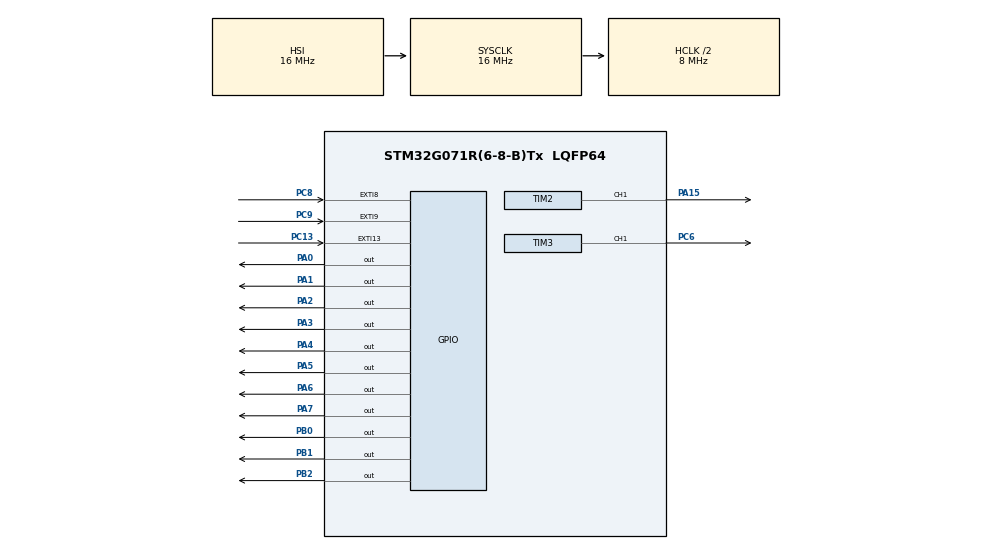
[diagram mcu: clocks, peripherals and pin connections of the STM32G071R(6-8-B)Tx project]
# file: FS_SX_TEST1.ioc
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Mcu.Family=STM32G0
Mcu.Name=STM32G071R(6-8-B)Tx
Mcu.Package=LQFP64
NVIC.EXTI4_15_IRQn=true\:0\:0\:false\:false\:true\:true\:true
PA0.Signal=GPIO_Output
PA1.Signal=GPIO_Output
PA15.Signal=S_TIM2_CH1
PA2.Signal=GPIO_Output
PA3.Signal=GPIO_Output
PA4.Signal=GPIO_Output
PA5.Signal=GPIO_Output
PA6.Signal=GPIO_Output
PA7.Signal=GPIO_Output
PB0.Signal=GPIO_Output
PB1.Signal=GPIO_Output
PB2.Signal=GPIO_Output
PC13.GPIO_ModeDefaultEXTI=GPIO_MODE_IT_FALLING
PC13.Signal=GPXTI13
PC6.Signal=S_TIM3_CH1
PC8.GPIO_ModeDefaultEXTI=GPIO_MODE_IT_FALLING
PC8.Signal=GPXTI8
PC9.GPIO_ModeDefaultEXTI=GPIO_MODE_IT_FALLING
PC9.Signal=GPXTI9
ProjectManager.HeapSize=0x200
ProjectManager.StackSize=0x400
ProjectManager.TargetToolchain=MDK-ARM V5.27
RCC.AHBCLKDivider=RCC_SYSCLK_DIV2
RCC.AHBFreq_Value=8000000
RCC.CortexFreq_Value=8000000
RCC.EXTERNAL_CLOCK_VALUE=48000
RCC.HCLKFreq_Value=8000000
RCC.HSE_VALUE=8000000
RCC.HSI_VALUE=16000000
RCC.LSE_VALUE=32768
RCC.SYSCLKFreq_VALUE=16000000
RCC.VCOOutputFreq_Value=128000000
SH.S_TIM2_CH1.0=TIM2_CH1,PWM Generation1 CH1
SH.S_TIM3_CH1.0=TIM3_CH1,PWM Generation1 CH1
TIM2.Channel-PWM\ Generation1\ CH1=TIM_CHANNEL_1
TIM2.Period=1000
TIM2.Prescaler=7
TIM2.Pulse-PWM\ Generation1\ CH1=500
TIM3.Channel-PWM\ Generation1\ CH1=TIM_CHANNEL_1
TIM3.Period=62500
TIM3.Prescaler=127
TIM3.Pulse-PWM\ Generation1\ CH1=31250
VP_SYS_VS_DBSignals.Mode=DisableDeadBatterySignals
board=custom

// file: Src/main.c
#include "main.h"
#define u8  unsigned char
#define u16 unsigned int

int mode=1; //调速模式
int number=0; //每秒转速
int number_f=0; //每分钟转速
int number_old=0;
unsigned char tstr[5];

void delay(void);
void lcdwritecmd(unsigned char cmd);
void lcdwritedata(unsigned char dat);
void lcdinit(void);
void lcdsetcursor(unsigned char x, unsigned char y);
void lcdshowstr(unsigned char x, unsigned char y, unsigned char *str);

void MX_TIM2_Init_NEW(int i); //自定义新的定时器初始化函数

TIM_HandleTypeDef htim2;
TIM_HandleTypeDef htim3;

void SystemClock_Config(void);
static void MX_GPIO_Init(void);
static void MX_TIM2_Init(void);
static void MX_TIM3_Init(void);

int main(void)
{
  HAL_Init();
  SystemClock_Config();
  MX_GPIO_Init();
  MX_TIM2_Init();
  MX_TIM3_Init();
	HAL_TIM_PWM_Start(&htim2,TIM_CHANNEL_1); //打开定时器2通道1
	HAL_TIM_PWM_Start(&htim3,TIM_CHANNEL_1); //打开定时器3通道1

	lcdinit();
	delay();
	lcdshowstr(0,0,"Speed");
	lcdshowstr(6,0,"0      ");

  while (1)
  {
		HAL_Delay(100);
  }
}

void SystemClock_Config(void)
{
  RCC_OscInitTypeDef RCC_OscInitStruct = {0};
  RCC_ClkInitTypeDef RCC_ClkInitStruct = {0};

  /** Configure the main internal regulator output voltage
  */
  HAL_PWREx_ControlVoltageScaling(PWR_REGULATOR_VOLTAGE_SCALE1);
  /** Initializes the RCC Oscillators according to the specified parameters
  * in the RCC_OscInitTypeDef structure.
  */
  RCC_OscInitStruct.OscillatorType = RCC_OSCILLATORTYPE_HSI;
  RCC_OscInitStruct.HSIState = RCC_HSI_ON;
  RCC_OscInitStruct.HSIDiv = RCC_HSI_DIV1;
  RCC_OscInitStruct.HSICalibrationValue = RCC_HSICALIBRATION_DEFAULT;
  RCC_OscInitStruct.PLL.PLLState = RCC_PLL_NONE;
  if (HAL_RCC_OscConfig(&RCC_OscInitStruct) != HAL_OK)
  {
    Error_Handler();
  }
  /** Initializes the CPU, AHB and APB buses clocks
  */
  RCC_ClkInitStruct.ClockType = RCC_CLOCKTYPE_HCLK|RCC_CLOCKTYPE_SYSCLK
                              |RCC_CLOCKTYPE_PCLK1;
  RCC_ClkInitStruct.SYSCLKSource = RCC_SYSCLKSOURCE_HSI;
  RCC_ClkInitStruct.AHBCLKDivider = RCC_SYSCLK_DIV2;
  RCC_ClkInitStruct.APB1CLKDivider = RCC_HCLK_DIV1;

  if (HAL_RCC_ClockConfig(&RCC_ClkInitStruct, FLASH_LATENCY_0) != HAL_OK)
  {
    Error_Handler();
  }
}

static void MX_TIM2_Init(void)
{

  TIM_MasterConfigTypeDef sMasterConfig = {0};
  TIM_OC_InitTypeDef sConfigOC = {0};

  htim2.Instance = TIM2;
  htim2.Init.Prescaler = 7;
  htim2.Init.CounterMode = TIM_COUNTERMODE_UP;
  htim2.Init.Period = 1000;
  htim2.Init.ClockDivision = TIM_CLOCKDIVISION_DIV1;
  htim2.Init.AutoReloadPreload = TIM_AUTORELOAD_PRELOAD_DISABLE;
  if (HAL_TIM_PWM_Init(&htim2) != HAL_OK)
  {
    Error_Handler();
  }
  sMasterConfig.MasterOutputTrigger = TIM_TRGO_RESET;
  sMasterConfig.MasterSlaveMode = TIM_MASTERSLAVEMODE_DISABLE;
  if (HAL_TIMEx_MasterConfigSynchronization(&htim2, &sMasterConfig) != HAL_OK)
  {
    Error_Handler();
  }
  sConfigOC.OCMode = TIM_OCMODE_PWM1;
  sConfigOC.Pulse = 500;
  sConfigOC.OCPolarity = TIM_OCPOLARITY_HIGH;
  sConfigOC.OCFastMode = TIM_OCFAST_DISABLE;
  if (HAL_TIM_PWM_ConfigChannel(&htim2, &sConfigOC, TIM_CHANNEL_1) != HAL_OK)
  {
    Error_Handler();
  }
  HAL_TIM_MspPostInit(&htim2);
}

static void MX_TIM3_Init(void)
{

  TIM_MasterConfigTypeDef sMasterConfig = {0};
  TIM_OC_InitTypeDef sConfigOC = {0};

  htim3.Instance = TIM3;
  htim3.Init.Prescaler = 127;
  htim3.Init.CounterMode = TIM_COUNTERMODE_UP;
  htim3.Init.Period = 62500;
  htim3.Init.ClockDivision = TIM_CLOCKDIVISION_DIV1;
  htim3.Init.AutoReloadPreload = TIM_AUTORELOAD_PRELOAD_DISABLE;
  if (HAL_TIM_PWM_Init(&htim3) != HAL_OK)
  {
    Error_Handler();
  }
  sMasterConfig.MasterOutputTrigger = TIM_TRGO_RESET;
  sMasterConfig.MasterSlaveMode = TIM_MASTERSLAVEMODE_DISABLE;
  if (HAL_TIMEx_MasterConfigSynchronization(&htim3, &sMasterConfig) != HAL_OK)
  {
    Error_Handler();
  }
  sConfigOC.OCMode = TIM_OCMODE_PWM1;
  sConfigOC.Pulse = 31250;
  sConfigOC.OCPolarity = TIM_OCPOLARITY_HIGH;
  sConfigOC.OCFastMode = TIM_OCFAST_DISABLE;
  if (HAL_TIM_PWM_ConfigChannel(&htim3, &sConfigOC, TIM_CHANNEL_1) != HAL_OK)
  {
    Error_Handler();
  }
  HAL_TIM_MspPostInit(&htim3);

}

static void MX_GPIO_Init(void)
{
  GPIO_InitTypeDef GPIO_InitStruct = {0};

  /* GPIO Ports Clock Enable */
  __HAL_RCC_GPIOC_CLK_ENABLE();
  __HAL_RCC_GPIOA_CLK_ENABLE();
  __HAL_RCC_GPIOB_CLK_ENABLE();

  /*Configure GPIO pin Output Level */
  HAL_GPIO_WritePin(GPIOA, GPIO_PIN_0|GPIO_PIN_1|GPIO_PIN_2|GPIO_PIN_3
                          |GPIO_PIN_4|GPIO_PIN_5|GPIO_PIN_6|GPIO_PIN_7, GPIO_PIN_RESET);

  /*Configure GPIO pin Output Level */
  HAL_GPIO_WritePin(GPIOB, GPIO_PIN_0|GPIO_PIN_1|GPIO_PIN_2, GPIO_PIN_RESET);

  /*Configure GPIO pins : PC13 PC8 PC9 */
  GPIO_InitStruct.Pin = GPIO_PIN_13|GPIO_PIN_8|GPIO_PIN_9;
  GPIO_InitStruct.Mode = GPIO_MODE_IT_FALLING;
  GPIO_InitStruct.Pull = GPIO_NOPULL;
  HAL_GPIO_Init(GPIOC, &GPIO_InitStruct);

  /*Configure GPIO pins : PA0 PA1 PA2 PA3
                           PA4 PA5 PA6 PA7 */
  GPIO_InitStruct.Pin = GPIO_PIN_0|GPIO_PIN_1|GPIO_PIN_2|GPIO_PIN_3
                          |GPIO_PIN_4|GPIO_PIN_5|GPIO_PIN_6|GPIO_PIN_7;
  GPIO_InitStruct.Mode = GPIO_MODE_OUTPUT_PP;
  GPIO_InitStruct.Pull = GPIO_NOPULL;
  GPIO_InitStruct.Speed = GPIO_SPEED_FREQ_LOW;
  HAL_GPIO_Init(GPIOA, &GPIO_InitStruct);

  /*Configure GPIO pins : PB0 PB1 PB2 */
  GPIO_InitStruct.Pin = GPIO_PIN_0|GPIO_PIN_1|GPIO_PIN_2;
  GPIO_InitStruct.Mode = GPIO_MODE_OUTPUT_PP;
  GPIO_InitStruct.Pull = GPIO_NOPULL;
  GPIO_InitStruct.Speed = GPIO_SPEED_FREQ_LOW;
  HAL_GPIO_Init(GPIOB, &GPIO_InitStruct);

  /* EXTI interrupt init*/
  HAL_NVIC_SetPriority(EXTI4_15_IRQn, 0, 0);
  HAL_NVIC_EnableIRQ(EXTI4_15_IRQn);

}

/* USER CODE BEGIN 4 */

void delay ()
{
	for(int i=0;i<99;i++)
	  for(int j=0;j<99;j++)
	 {}
}

void lcdwritecmd(unsigned char cmd)
{
	// lcdwait();
	delay();
	GPIOB->ODR=0x00;  //E=0\RW=0\RS=0
	GPIOA->ODR=cmd;
	GPIOB->ODR=0x04;	//E=1\RW=0\RS=0
	delay();
	GPIOB->ODR=0x00;	//E=0\RW=0\RS=0
}

void lcdwritedata(unsigned char dat)
{
  //	lcdwait();
  delay();
	GPIOB->ODR=0x01;	//E=0\RW=0\RS=1
  GPIOA->ODR=dat;
	GPIOB->ODR=0x05;	//E=1\RW=0\RS=1
	delay();
	GPIOB->ODR=0x01;	//E=0\RW=0\RS=1
}

void lcdinit()
{
	lcdwritecmd(0x38);
	lcdwritecmd(0x0c);
	lcdwritecmd(0x06);
	lcdwritecmd(0x01);
}

void lcdsetcursor(unsigned char x, unsigned char y)
{
	unsigned char address;
	if(y==0)
		address=0x00+x;
	else
		address=0x40+x;
	lcdwritecmd(address|0x80);
}

void lcdshowstr(unsigned char x, unsigned char y, unsigned char *str)
{
	lcdsetcursor(x,y);
	while((*str)!='\0')
	{
		 lcdwritedata(*str);
  		str++;
	}
}

//*******************************************************************************

void HAL_GPIO_EXTI_Falling_Callback(uint16_t GPIO_Pin)
{
	if(GPIO_Pin==0x2000) //PC13
	{
		if(mode<5) //mode1到5轮转
			mode++;
		else
			mode=1;
		HAL_TIM_PWM_Stop(&htim2,TIM_CHANNEL_1); //关闭定时器2通道1
		MX_TIM2_Init_NEW(mode); //重新配置定时器2
		HAL_TIM_PWM_Start(&htim2,TIM_CHANNEL_1); //关闭定时器2通道1
	}
	else if(GPIO_Pin==0x0100) //PC8 定时器3-----输出+清零
	{
		HAL_TIM_PWM_Stop(&htim3,TIM_CHANNEL_1); //打开定时器3通道1
		if(number!=number_old) //降低LCD1602刷新频率
		{
			number_f=number*30;
			lcdshowstr(6,0,"         ");	//清除原来的数据（显存）
			sprintf(tstr,"%d",number_f); //转换数据类型
			lcdshowstr(6,0,tstr);	//输出number_f每分钟转速
			number_old=number; //刷新number_old值
		}
		HAL_TIM_PWM_Start(&htim3,TIM_CHANNEL_1); //打开定时器3通道1
		number=0;
	}
	else if(GPIO_Pin==0x0200) //PC9 风扇计数
	{
		number++;
	}
	else ;
}

//******************************************************************************

void MX_TIM2_Init_NEW(int i) //自定义新的定时器初始化函数
{
  TIM_MasterConfigTypeDef sMasterConfig = {0};
  TIM_OC_InitTypeDef sConfigOC = {0};
  htim2.Instance = TIM2;
  htim2.Init.Prescaler = 7;
  htim2.Init.CounterMode = TIM_COUNTERMODE_UP;
  htim2.Init.Period = 1000;
  htim2.Init.ClockDivision = TIM_CLOCKDIVISION_DIV1;
  htim2.Init.AutoReloadPreload = TIM_AUTORELOAD_PRELOAD_DISABLE;
  if (HAL_TIM_PWM_Init(&htim2) != HAL_OK)
  {
    Error_Handler();
  }
  sMasterConfig.MasterOutputTrigger = TIM_TRGO_RESET;
  sMasterConfig.MasterSlaveMode = TIM_MASTERSLAVEMODE_DISABLE;
  if (HAL_TIMEx_MasterConfigSynchronization(&htim2, &sMasterConfig) != HAL_OK)
  {
    Error_Handler();
  }
  sConfigOC.OCMode = TIM_OCMODE_PWM1;
  sConfigOC.Pulse = 200*i;  //500
  sConfigOC.OCPolarity = TIM_OCPOLARITY_HIGH;
  sConfigOC.OCFastMode = TIM_OCFAST_DISABLE;
  if (HAL_TIM_PWM_ConfigChannel(&htim2, &sConfigOC, TIM_CHANNEL_1) != HAL_OK)
  {
    Error_Handler();
  }
  HAL_TIM_MspPostInit(&htim2);
}

/* USER CODE END 4 */

void Error_Handler(void)
{
  __disable_irq();
  while (1)
  {
  }
}

/************************ (C) COPYRIGHT STMicroelectronics *****END OF FILE****/
